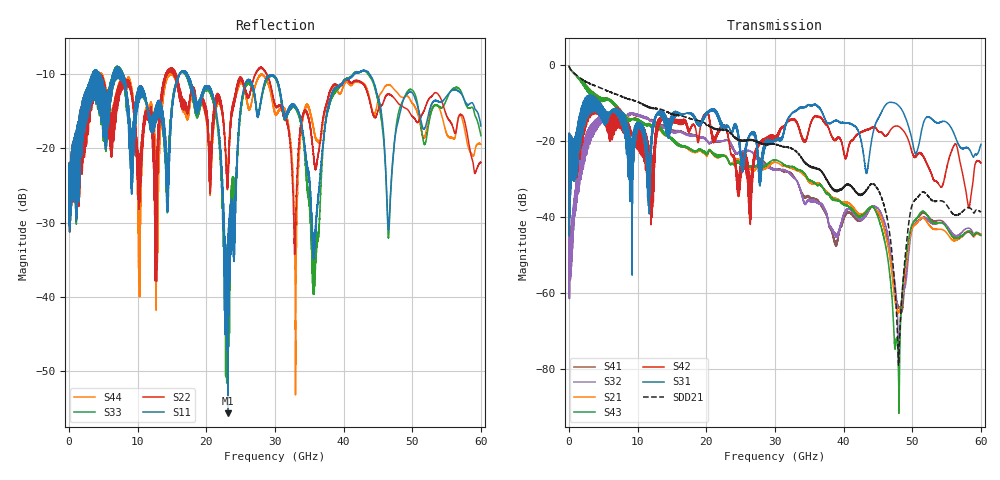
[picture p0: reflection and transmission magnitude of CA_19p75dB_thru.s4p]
!4 port subset of full cascaded channels using these ports:5 37 6 38
# Hz S RI R 50
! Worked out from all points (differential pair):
!   6000 points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, 10 MHz to 60 GHz, reference 50 ohm
!   strongest paths, dB at 10 MHz, 15.01 GHz, 30.01 GHz, 45.01 GHz, 60 GHz:
!     S31: -21.9, -13.6, -19.8, -14.1, -20.9
!     S42: -21.9, -14.4, -18.7, -17.3, -25.7
!     S43: -0.3, -19.4, -24.9, -40.0, -44.8
!     S21: -0.3, -19.4, -25.6, -38.6, -44.6
!     S32: -44.3, -17.7, -27.5, -37.8, -44.5
!     S41: -44.3, -17.3, -27.4, -39.0, -44.6
!   taken as a pair (ports 3,1 in; 4,2 out), SDD21 dB: -0.3, -12.9, -20.8, -32.8, -38.6
!   lowest |S11| = -55.6 dB at 23.15 GHz (marker M1), VSWR 1.00, Z = 50 + j0.165 ohm
!   |S11| at or under -10 dB: 7.872 GHz to 16.12 GHz (8.243 GHz wide, 68.7 % of centre); 17.2 GHz to 41.55 GHz (24.34 GHz wide, 82.9 % of centre); 43.74 GHz to end of sweep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
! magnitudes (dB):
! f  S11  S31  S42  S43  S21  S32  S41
! 10 MHz  -24.0  -21.9  -21.9  -0.3  -0.3  -44.3  -44.3
! 4.49 GHz  -12.9  -12.3  -11.8  -8.5  -8.4  -15.7  -15.6
! 23.15 GHz  -55.6  -16.0  -18.3  -25.1  -25.0  -19.6  -19.8
! 44.38 GHz  -11.0  -17.2  -16.3  -37.5  -37.5  -37.1  -37.2
! 47.9 GHz  -16.5  -10.5  -16.1  -74.6  -65.0  -68.0  -63.2
! 50.25 GHz  -12.9  -22.2  -23.9  -41.1  -42.3  -42.0  -41.0
! 60 GHz  -17.0  -20.9  -25.7  -44.8  -44.6  -44.5  -44.6
